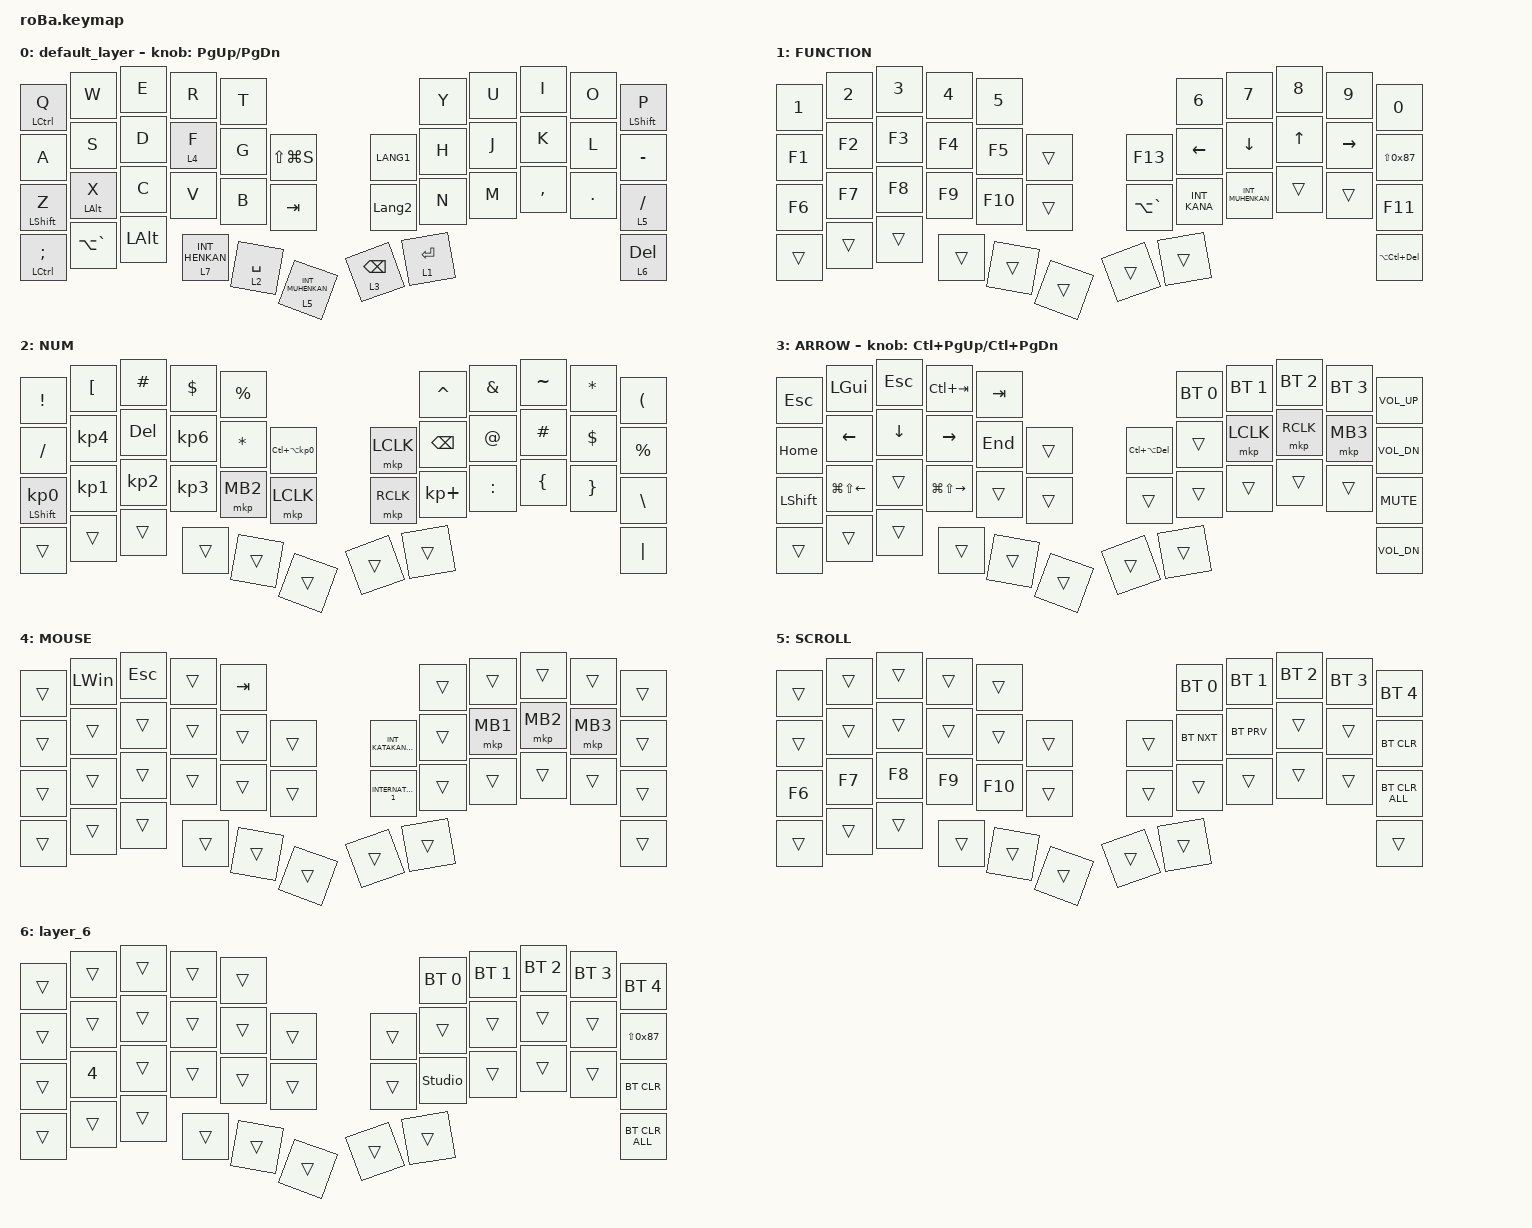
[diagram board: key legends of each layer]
#include <behaviors.dtsi>
#include <dt-bindings/zmk/bt.h>
#include <dt-bindings/zmk/keys.h>
#include <dt-bindings/zmk/pointing.h>

&mt {
    flavor = "balanced";
    quick-tap-ms = <0>;
};

// OS設定を日本語キーボードのまま使用するための変換定義

#define JP_DQUOTE       AT                // "
#define JP_AMPERSAND    CARET             // &
#define JP_QUOTE        AMPERSAND         // '
#define JP_EQUAL        UNDER             // =
#define JP_CARET        EQUAL             // ^
#define JP_YEN          0x89              // ¥
#define JP_PLUS         COLON             // +
#define JP_TILDE        PLUS              // ~
#define JP_PIPE         LS(0x89)          // |
#define JP_AT           LEFT_BRACKET      // @
#define JP_COLON        SINGLE_QUOTE      // :
#define JP_ASTERISK     DOUBLE_QUOTES     // *
#define JP_BACKQUOTE    LEFT_BRACE        // `
#define JP_UNDERSCORE   LS(0x87)          // _
#define JP_LBRACKET     RIGHT_BRACKET     // [
#define JP_RBRACKET     BACKSLASH         // ]
#define JP_LPAREN       ASTERISK          // (
#define JP_RPAREN       LEFT_PARENTHESIS  // )
#define JP_LBRACE       RIGHT_BRACE       // {
#define JP_RBRACE       PIPE              // }
#define JP_KANA         LANGUAGE_1        // かな
#define JP_EISU         LANGUAGE_2        // 英数
#define JP_HANZEN       GRAVE             // 半角/全角

/ {
    combos {
        compatible = "zmk,combos";

        tab {
            bindings = <&kp TAB>;
            key-positions = <11 12>;
        };

        shift_tab {
            bindings = <&kp LS(TAB)>;
            key-positions = <12 13>;
        };

        muhennkann {
            bindings = <&to_layer_0 INT_MUHENKAN>;
            key-positions = <11 10>;
        };

        double_quotation {
            bindings = <&kp DOUBLE_QUOTES>;
            key-positions = <20 21>;
        };

        eq {
            bindings = <&kp EQUAL>;
            key-positions = <24 25>;
        };
    };

    macros {
        to_layer_0: to_layer_0 {
            compatible = "zmk,behavior-macro-one-param";
            #binding-cells = <1>;
            bindings = <&to 0 &macro_param_1to1 &kp MACRO_PLACEHOLDER>;
            label = "TO_LAYER_0";
        };
    };

    behaviors {
        lt_to_layer_0: lt_to_layer_0 {
            compatible = "zmk,behavior-hold-tap";
            label = "LAYER_TAP_TO_0";
            bindings = <&mo>, <&to_layer_0>;

            #binding-cells = <2>;
            tapping-term-ms = <200>;
        };
    };

    keymap {
        compatible = "zmk,keymap";

        default_layer {
            bindings = <
&mt LCTRL Q          &kp W           &kp E         &kp R                        &kp T                                                            &kp Y        &kp U  &kp I      &kp O    &mt LEFT_SHIFT P
&kp A                &kp S           &kp D         &lt_to_layer_0 4 F           &kp G        &kp LS(LG(S))                      &kp LANG1        &kp H        &kp J  &kp K      &kp L    &kp MINUS
&mt LEFT_SHIFT Z     &mt LEFT_ALT X  &kp C         &kp V                        &kp B        &kp TAB                            &kp LANGUAGE_2   &kp N        &kp M  &kp COMMA  &kp DOT  &lt 5 SLASH
&mt LCTRL SEMICOLON  &kp LA(GRAVE)   &kp LEFT_ALT  &lt_to_layer_0 7 INT_HENKAN  &lt 2 SPACE  &lt_to_layer_0 5 INT_MUHENKAN      &lt 3 BACKSPACE  &lt 1 ENTER                             &lt 6 DELETE
            >;

            sensor-bindings = <&inc_dec_kp PG_UP PAGE_DOWN>;
        };

        FUNCTION {
            bindings = <
&kp NUMBER_1  &kp NUMBER_2  &kp NUMBER_3  &kp NUMBER_4  &kp N5                              &kp NUMBER_6  &kp N7            &kp N8  &kp N9     &kp NUMBER_0
&kp F1        &kp F2        &kp F3        &kp F4        &kp F5   &trans      &kp F13        &kp LEFT      &kp DOWN          &kp UP  &kp RIGHT  &kp JP_UNDERSCORE
&kp F6        &kp F7        &kp F8        &kp F9        &kp F10  &trans      &kp LA(GRAVE)  &kp INT_KANA  &kp INT_MUHENKAN  &trans  &trans     &kp F11
&trans        &trans        &trans        &trans        &trans   &trans      &trans         &trans                                             &kp LA(LC(DELETE))
            >;
        };

        NUM {
            bindings = <
&kp EXCLAMATION             &kp JP_AT        &kp HASH         &kp DOLLAR       &kp PERCENT                                           &kp CARET      &kp AMPERSAND  &kp TILDE       &kp JP_LPAREN    &kp JP_RPAREN
&kp SLASH                   &kp KP_NUMBER_4  &kp DELETE       &kp KP_NUMBER_6  &kp ASTERISK  &kp LC(LA(KP_NUMBER_0))      &mkp LCLK  &kp BACKSPACE  &kp AT_SIGN    &kp HASH        &kp DOLLAR       &kp PERCENT
&mt LEFT_SHIFT KP_NUMBER_0  &kp KP_NUMBER_1  &kp KP_NUMBER_2  &kp KP_NUMBER_3  &mkp MB2      &mkp LCLK                    &mkp RCLK  &kp KP_PLUS    &kp COLON      &kp LEFT_BRACE  &kp RIGHT_BRACE  &kp BACKSLASH
&trans                      &trans           &trans           &trans           &trans        &trans                       &trans     &trans                                                         &kp PIPE
            >;
        };

        ARROW {
            bindings = <
&kp ESCAPE      &kp LEFT_GUI            &kp ESCAPE      &kp LC(TAB)              &kp TAB                                  &bt BT_SEL 0  &bt BT_SEL 1  &bt BT_SEL 2  &bt BT_SEL 3  &kp C_VOLUME_UP
&kp HOME        &kp LEFT_ARROW          &kp DOWN_ARROW  &kp RIGHT_ARROW          &kp END  &trans      &kp LC(LA(DELETE))  &trans        &mkp LCLK     &mkp RCLK     &mkp MB3      &kp C_VOL_DN
&kp LEFT_SHIFT  &kp LG(LS(LEFT_ARROW))  &trans          &kp LG(LS(RIGHT_ARROW))  &trans   &trans      &trans              &trans        &trans        &trans        &trans        &kp K_MUTE
&trans          &trans                  &trans          &trans                   &trans   &trans      &trans              &trans                                                  &kp C_VOL_DN
            >;

            sensor-bindings = <&inc_dec_kp LC(PAGE_UP) LC(PAGE_DOWN)>;
        };

        MOUSE {
            bindings = <
&trans  &kp LEFT_WIN  &kp ESC  &trans  &kp TAB                                        &trans  &trans    &trans    &trans    &trans
&trans  &trans        &trans   &trans  &trans   &trans      &kp INT_KATAKANAHIRAGANA  &trans  &mkp MB1  &mkp MB2  &mkp MB3  &trans
&trans  &trans        &trans   &trans  &trans   &trans      &kp INTERNATIONAL_1       &trans  &trans    &trans    &trans    &trans
&trans  &trans        &trans   &trans  &trans   &trans      &trans                    &trans                                &trans
            >;
        };

        SCROLL {
            bindings = <
&trans  &trans  &trans  &trans  &trans                       &bt BT_SEL 0  &bt BT_SEL 1  &bt BT_SEL 2  &bt BT_SEL 3  &bt BT_SEL 4
&trans  &trans  &trans  &trans  &trans   &trans      &trans  &bt BT_NXT    &bt BT_PRV    &trans        &trans        &bt BT_CLR
&kp F6  &kp F7  &kp F8  &kp F9  &kp F10  &trans      &trans  &trans        &trans        &trans        &trans        &bt BT_CLR_ALL
&trans  &trans  &trans  &trans  &trans   &trans      &trans  &trans                                                  &trans
            >;
        };

        layer_6 {
            bindings = <
&trans  &trans        &trans  &trans  &trans                      &bt BT_SEL 0    &bt BT_SEL 1  &bt BT_SEL 2  &bt BT_SEL 3  &bt BT_SEL 4
&trans  &trans        &trans  &trans  &trans  &trans      &trans  &trans          &trans        &trans        &trans        &kp JP_UNDERSCORE
&trans  &kp NUMBER_4  &trans  &trans  &trans  &trans      &trans  &studio_unlock  &trans        &trans        &trans        &bt BT_CLR
&trans  &trans        &trans  &trans  &trans  &trans      &trans  &trans                                                    &bt BT_CLR_ALL
            >;
        };
    };
};
